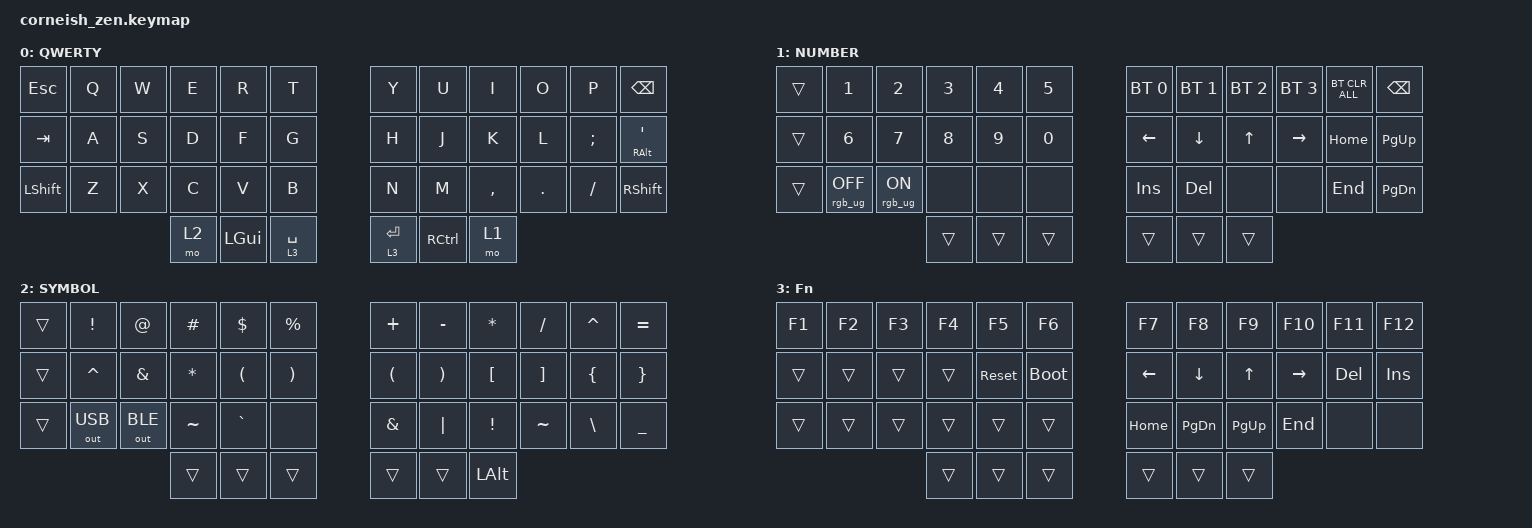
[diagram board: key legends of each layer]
/*
 * Copyright (c) 2020 The ZMK Contributors
 *
 * SPDX-License-Identifier: MIT
 */

#include <behaviors.dtsi>
#include <dt-bindings/zmk/bt.h>
#include <dt-bindings/zmk/ext_power.h>
#include <dt-bindings/zmk/keys.h>
#include <dt-bindings/zmk/outputs.h>
#include <dt-bindings/zmk/rgb.h>

/ {
    chosen {
        zmk,matrix_transform = &default_transform;

        // zmk,matrix_transform = &five_column_transform;
    };
};

/ {
    behaviors {
        td0: td0 {
            compatible = "zmk,behavior-tap-dance";
            label = "TD0";
            #binding-cells = <0>;
            bindings = <&kp LEFT_SHIFT>, <&kp CAPS>;
        };
    };

    keymap {
        compatible = "zmk,keymap";

        default_layer {
            display-name = "QWERTY";

            // --------------------------------------------------------------------------------
            // | ESC |  Q  |  W  |  E  |  R  |  T  |   |  Y  |  U  |  I  |  O  |  P  | BKSP |
            // | TAB |  A  |  S  |  D  |  F  |  G  |   |  H  |  J  |  K  |  L  |  ;  |'/ALT | 
            // | SHFT|  Z  |  X  |  C  |  V  |  B  |   |  N  |  M  |  ,  |  .  |  /  | SHFT |
            //                   | SYM | CMD | SPC |   | ENT | CTRL| NUM |

            bindings = <
&kp ESC    &kp Q  &kp W  &kp E   &kp R     &kp T          &kp Y        &kp U      &kp I      &kp O    &kp P     &kp BSPC
&kp TAB    &kp A  &kp S  &kp D   &kp F     &kp G          &kp H        &kp J      &kp K      &kp L    &kp SEMI  &mt RALT SQT
&kp LSHFT  &kp Z  &kp X  &kp C   &kp V     &kp B          &kp N        &kp M      &kp COMMA  &kp DOT  &kp FSLH  &kp RSHFT
                         &mo 2  &kp LGUI  &lt 3 SPACE     &lt 3 ENTER  &kp RCTRL  &mo 1  
            >;
        };

        lower_layer {
            display-name = "NUMBER";

            // -----------------------------------------------------------------------------------------
            // | ESC  |  1  |  2  |  3  |  4  |  5  |    | BT1 | BT2 | BT3 | BT4 |BT_CLR| BKSP |
            // | TAB  |  6  |  7  |  8  |  9  |  0  |    | LFT | DWN | UP  | RGT | HOME | PGUP |
            // | SHFT |L_OFF|L_ON |     |     |     |    | INS | DEL |     |     | END  | PGDN |
            //                    | SYM | CMD | SPC |    | ENT | CTRL| NUM |

            bindings = <
&trans   &kp N1           &kp N2          &kp N3    &kp N4    &kp N5        &bt BT_SEL 0   &bt BT_SEL 1  &bt BT_SEL 2   &bt BT_SEL 3   &bt BT_CLR_ALL  &kp BSPC
&trans   &kp N6           &kp N7          &kp N8    &kp N9    &kp N0        &kp LEFT       &kp DOWN      &kp UP         &kp RIGHT      &kp HOME        &kp PG_UP     
&trans   &rgb_ug RGB_OFF  &rgb_ug RGB_ON  &none     &none     &none         &kp INS        &kp DEL       &none          &none          &kp END         &kp PG_DN
                          &trans          &trans    &trans    &trans        &trans         &trans
            >;
        };
//&ext_power EP_OFF  &ext_power EP_ON  &rgb_ug RGB_EFF    &rgb_ug RGB_EFR  &rgb_ug RGB_SPI  &rgb_ug RGB_BRI  &rgb_ug RGB_BRD  
        raise_layer {
            display-name = "SYMBOL";

            // -----------------------------------------------------------------------------------------
            // | ESC |  !  |  @  |  #  |  $  |  %  |   |  +  |  -  |  *  |  /  | ^  |  =  |
            // | TAB |  ^  |  &  |  *  |  (  |  )  |   |  (  |  )  |  [  |  ]  | {  |  }  |
            // | SHFT| USB | BLE |  ~  |  `  |     |   |  &  | "|" |  !  |  ~  | \  |  _  |
            //                   | SYM | CMD | SPC |   | ENT | CTRL| NUM |

            bindings = <
&trans  &kp EXCL      &kp AT        &kp HASH   &kp DLLR  &kp PRCNT    &kp PLUS  &kp MINUS  &kp ASTRK  &kp FSLH   &kp CARET  &kp EQUAL
&trans  &kp CARET     &kp AMPS      &kp ASTRK  &kp LPAR  &kp RPAR     &kp LPAR  &kp RPAR   &kp LBKT   &kp RBKT   &kp LBRC   &kp RBRC
&trans  &out OUT_USB  &out OUT_BLE  &kp TILDE  &kp GRAVE   &none      &kp AMPS  &kp PIPE   &kp EXCL   &kp TILDE  &kp BSLH   &kp UNDER
                                    &trans     &trans    &trans       &trans    &trans     &kp LALT
            >;
        };

        layer_3 {
            display-name = "Fn";

            // -----------------------------------------------------------------------------------------
            // | F1  | F2 | F3 | F4 | F5 | F6 |   | F7  | F8  | F9  | F10 | F11  | F12  |
            // | TAB |    |    |    |    |    |   | LFT | DWN | UP  | RGT | DEL  | INS  |
            // | SHFT|    |    |    |    |    |   | HOME| PGDN| PGUP| END |      |      |
            //                 |SYM |CMD |SPC |   | ENT | CTRL| NUM |

        bindings = <
&kp F1  &kp F2  &kp F3  &kp F4  &kp F5      &kp F6         &kp F7    &kp F8     &kp F9  &kp F10      &kp F11  &kp F12
&trans  &trans  &trans  &trans  &sys_reset  &bootloader    &kp LEFT  &kp DOWN   &kp UP  &kp RIGHT    &kp DEL  &kp INS  
&trans  &trans  &trans  &trans  &trans      &trans         &kp HOME  &kp PG_DN  &kp PG_UP   &kp END  &none    &none
                        &trans  &trans      &trans         &trans    &trans     &trans
            >;
        };
    };
};
